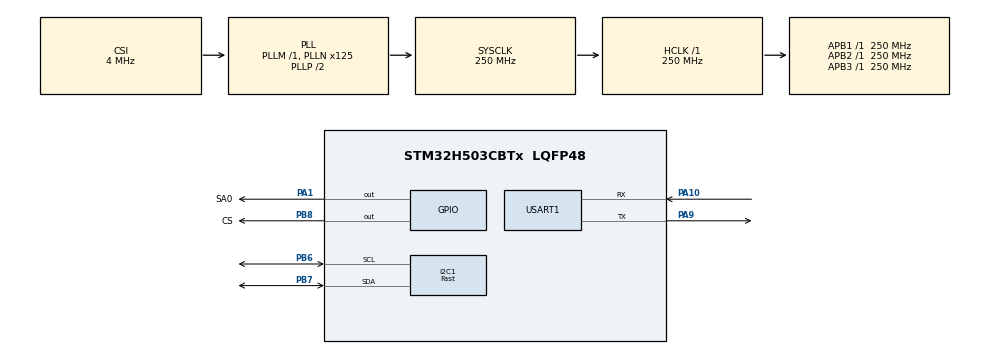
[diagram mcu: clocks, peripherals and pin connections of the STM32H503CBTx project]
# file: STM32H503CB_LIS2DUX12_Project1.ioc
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I2C1.I2C_Speed_Mode=I2C_Fast
I2C1.Timing=0x10C043E5
Mcu.Family=STM32H5
Mcu.Name=STM32H503CBTx
Mcu.Package=LQFP48
NVIC.PriorityGroup=NVIC_PRIORITYGROUP_4
PA1.GPIO_Label=SA0
PA1.Signal=GPIO_Output
PA10.Mode=Asynchronous
PA10.Signal=USART1_RX
PA9.Mode=Asynchronous
PA9.Signal=USART1_TX
PB6.Mode=I2C
PB6.Signal=I2C1_SCL
PB7.Mode=I2C
PB7.Signal=I2C1_SDA
PB8.GPIO_Label=CS
PB8.Signal=GPIO_Output
ProjectManager.HeapSize=0x2000
ProjectManager.StackSize=0x4000
ProjectManager.TargetToolchain=MDK-ARM V5.37
RCC.ADCFreq_Value=250000000
RCC.AHBFreq_Value=250000000
RCC.APB1Freq_Value=250000000
RCC.APB1TimFreq_Value=250000000
RCC.APB2Freq_Value=250000000
RCC.APB2TimFreq_Value=250000000
RCC.APB3Freq_Value=250000000
RCC.CSI_VALUE=4000000
RCC.CortexFreq_Value=250000000
RCC.EPOD_VALUE=4000000
RCC.HCLKFreq_Value=250000000
RCC.HSE_VALUE=25000000
RCC.HSI48_VALUE=48000000
RCC.HSI_VALUE=64000000
RCC.LSE_VALUE=32768
RCC.LSIRC_VALUE=32000
RCC.PLL2FRACN=0
RCC.PLLFRACN=0
RCC.PLLN=125
RCC.SYSCLKFreq_VALUE=250000000
RCC.SYSCLKSource=RCC_SYSCLKSOURCE_PLLCLK
RCC.USBFreq_Value=48000000
RCC.VCOOutputFreq_Value=500000000
USART1.VirtualMode-Asynchronous=VM_ASYNC
VP_BOOTPATH_VS_BOOTPATH.Mode=BP_Activate
VP_CORTEX_M33_NS_VS_Hclk.Mode=Hclk_Mode
VP_ICACHE_VS_ICACHE.Mode=DirectMappedCache
VP_MEMORYMAP_VS_MEMORYMAP.Mode=CurAppReg
VP_PWR_VS_LPOM.Mode=PowerOptimisation
VP_PWR_VS_SECSignals.Mode=Security/Privilege
board=custom

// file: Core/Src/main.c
/* USER CODE BEGIN Header */
/**
  ******************************************************************************
  * @file           : main.c
  * @brief          : Main program body
  ******************************************************************************
  * @attention
  *
  * Copyright (c) 2025 STMicroelectronics.
  * All rights reserved.
  *
  * This software is licensed under terms that can be found in the LICENSE file
  * in the root directory of this software component.
  * If no LICENSE file comes with this software, it is provided AS-IS.
  *
  ******************************************************************************
  */
/* USER CODE END Header */
#include "main.h"
#include "i2c.h"
#include "icache.h"
#include "usart.h"
#include "gpio.h"

/* USER CODE BEGIN Includes */
#include "stdio.h"
#include "lis2dux12_reg.h"
/* USER CODE END Includes */

void SystemClock_Config(void);
/* USER CODE BEGIN PFP */
int fputc(int ch, FILE *f){
	HAL_UART_Transmit(&huart1 , (uint8_t *)&ch, 1, 0xFFFF);
	return ch;
}
/* USER CODE END PFP */

/* USER CODE BEGIN 0 */
#define SENSOR_BUS hi2c1

/* Private typedef -----------------------------------------------------------*/

/* Private macro -------------------------------------------------------------*/
#define    BOOT_TIME         10 //ms

/* Private variables ---------------------------------------------------------*/
static uint8_t tx_buffer[1000];
static lis2dux12_xl_data_t data_xl;
static lis2dux12_outt_data_t data_temp;

/* Extern variables ----------------------------------------------------------*/

/* Private functions ---------------------------------------------------------*/

/*
 *   WARNING:
 *   Functions declare in this section are defined at the end of this file
 *   and are strictly related to the hardware platform used.
 *
 */
static int32_t platform_write(void *handle, uint8_t reg, const uint8_t *bufp,
                              uint16_t len);
static int32_t platform_read(void *handle, uint8_t reg, uint8_t *bufp,
                             uint16_t len);
static void tx_com( uint8_t *tx_buffer, uint16_t len );
static void platform_delay(uint32_t ms);
static void platform_init(void);

/* USER CODE END 0 */

int main(void)
{

  /* MCU Configuration--------------------------------------------------------*/

  /* Reset of all peripherals, Initializes the Flash interface and the Systick. */
  HAL_Init();

  /* Configure the system clock */
  SystemClock_Config();

  /* Initialize all configured peripherals */
  MX_GPIO_Init();
  MX_I2C1_Init();
  MX_ICACHE_Init();
  MX_USART1_UART_Init();
  /* USER CODE BEGIN 2 */
	printf("HELLO\n");
	HAL_GPIO_WritePin(CS_GPIO_Port, CS_Pin, GPIO_PIN_SET);
	HAL_GPIO_WritePin(SA0_GPIO_Port, SA0_Pin, GPIO_PIN_RESET);

  lis2dux12_status_t status;
  stmdev_ctx_t dev_ctx;
  uint8_t id;
  lis2dux12_md_t md;

  /* Initialize mems driver interface */
  dev_ctx.write_reg = platform_write;
  dev_ctx.read_reg = platform_read;
  dev_ctx.mdelay = platform_delay;
  dev_ctx.handle = &SENSOR_BUS;

  /* Initialize platform specific hardware */
//  platform_init();

  /* Wait sensor boot time */
  platform_delay(BOOT_TIME);

  lis2dux12_exit_deep_power_down(&dev_ctx);

  /* Check device ID */
  lis2dux12_device_id_get(&dev_ctx, &id);
	printf("LIS2DUX12_ID=0x%x,id=0x%x\n",LIS2DUX12_ID,id);
  if (id != LIS2DUX12_ID)
    while(1);

  /* Restore default configuration */
  lis2dux12_sw_reset(&dev_ctx);

  /* init bdu and add_inc */
  lis2dux12_init_set(&dev_ctx);

  /* Set Output Data Rate */
  md.fs =  LIS2DUX12_4g;
  md.bw = LIS2DUX12_ODR_div_4;
  md.odr = LIS2DUX12_25Hz_LP;
  lis2dux12_mode_set(&dev_ctx, &md);
  /* USER CODE END 2 */

  /* Infinite loop */
  /* USER CODE BEGIN WHILE */
  while (1)
  {
		/* Read output only if new values are available */
    lis2dux12_status_get(&dev_ctx, &status);
    if (status.drdy) {
      lis2dux12_xl_data_get(&dev_ctx, &md, &data_xl);

      /* print Accel data  */
      printf("Acceleration [mg]:%4.2f\t%4.2f\t%4.2f\r\n",
              data_xl.mg[0], data_xl.mg[1], data_xl.mg[2]);

      lis2dux12_outt_data_get(&dev_ctx, &data_temp);

      /* print Temp data  */
      printf("Temp[degC]:%3.2f\r\n",
              data_temp.heat.deg_c);

    }

    /* USER CODE END WHILE */

  }
}

void SystemClock_Config(void)
{
  RCC_OscInitTypeDef RCC_OscInitStruct = {0};
  RCC_ClkInitTypeDef RCC_ClkInitStruct = {0};

  /** Configure the main internal regulator output voltage
  */
  __HAL_PWR_VOLTAGESCALING_CONFIG(PWR_REGULATOR_VOLTAGE_SCALE0);

  while(!__HAL_PWR_GET_FLAG(PWR_FLAG_VOSRDY)) {}

  /** Initializes the RCC Oscillators according to the specified parameters
  * in the RCC_OscInitTypeDef structure.
  */
  RCC_OscInitStruct.OscillatorType = RCC_OSCILLATORTYPE_CSI;
  RCC_OscInitStruct.CSIState = RCC_CSI_ON;
  RCC_OscInitStruct.CSICalibrationValue = RCC_CSICALIBRATION_DEFAULT;
  RCC_OscInitStruct.PLL.PLLState = RCC_PLL_ON;
  RCC_OscInitStruct.PLL.PLLSource = RCC_PLL1_SOURCE_CSI;
  RCC_OscInitStruct.PLL.PLLM = 1;
  RCC_OscInitStruct.PLL.PLLN = 125;
  RCC_OscInitStruct.PLL.PLLP = 2;
  RCC_OscInitStruct.PLL.PLLQ = 2;
  RCC_OscInitStruct.PLL.PLLR = 2;
  RCC_OscInitStruct.PLL.PLLRGE = RCC_PLL1_VCIRANGE_2;
  RCC_OscInitStruct.PLL.PLLVCOSEL = RCC_PLL1_VCORANGE_WIDE;
  RCC_OscInitStruct.PLL.PLLFRACN = 0;
  if (HAL_RCC_OscConfig(&RCC_OscInitStruct) != HAL_OK)
  {
    Error_Handler();
  }

  /** Initializes the CPU, AHB and APB buses clocks
  */
  RCC_ClkInitStruct.ClockType = RCC_CLOCKTYPE_HCLK|RCC_CLOCKTYPE_SYSCLK
                              |RCC_CLOCKTYPE_PCLK1|RCC_CLOCKTYPE_PCLK2
                              |RCC_CLOCKTYPE_PCLK3;
  RCC_ClkInitStruct.SYSCLKSource = RCC_SYSCLKSOURCE_PLLCLK;
  RCC_ClkInitStruct.AHBCLKDivider = RCC_SYSCLK_DIV1;
  RCC_ClkInitStruct.APB1CLKDivider = RCC_HCLK_DIV1;
  RCC_ClkInitStruct.APB2CLKDivider = RCC_HCLK_DIV1;
  RCC_ClkInitStruct.APB3CLKDivider = RCC_HCLK_DIV1;

  if (HAL_RCC_ClockConfig(&RCC_ClkInitStruct, FLASH_LATENCY_5) != HAL_OK)
  {
    Error_Handler();
  }

  /** Configure the programming delay
  */
  __HAL_FLASH_SET_PROGRAM_DELAY(FLASH_PROGRAMMING_DELAY_2);
}

/* USER CODE BEGIN 4 */
/*
 * @brief  Write generic device register (platform dependent)
 *
 * @param  handle    customizable argument. In this examples is used in
 *                   order to select the correct sensor bus handler.
 * @param  reg       register to write
 * @param  bufp      pointer to data to write in register reg
 * @param  len       number of consecutive register to write
 *
 */
static int32_t platform_write(void *handle, uint8_t reg,
                              const uint8_t *bufp, uint16_t len)
{
  HAL_I2C_Mem_Write(handle, LIS2DUX12_I2C_ADD_L, reg,
                    I2C_MEMADD_SIZE_8BIT, (uint8_t*) bufp, len, 1000);
  return 0;
}

/*
 * @brief  Read generic device register (platform dependent)
 *
 * @param  handle    customizable argument. In this examples is used in
 *                   order to select the correct sensor bus handler.
 * @param  reg       register to read
 * @param  bufp      pointer to buffer that store the data read
 * @param  len       number of consecutive register to read
 *
 */
static int32_t platform_read(void *handle, uint8_t reg, uint8_t *bufp,
                             uint16_t len)
{
  HAL_I2C_Mem_Read(handle, LIS2DUX12_I2C_ADD_L, reg,
                   I2C_MEMADD_SIZE_8BIT, bufp, len, 1000);
  return 0;
}

/*
 * @brief  platform specific delay (platform dependent)
 *
 * @param  ms        delay in ms
 *
 */
static void platform_delay(uint32_t ms)
{
  HAL_Delay(ms);

}
/* USER CODE END 4 */

void Error_Handler(void)
{
  __disable_irq();
  while (1)
  {
  }
}
